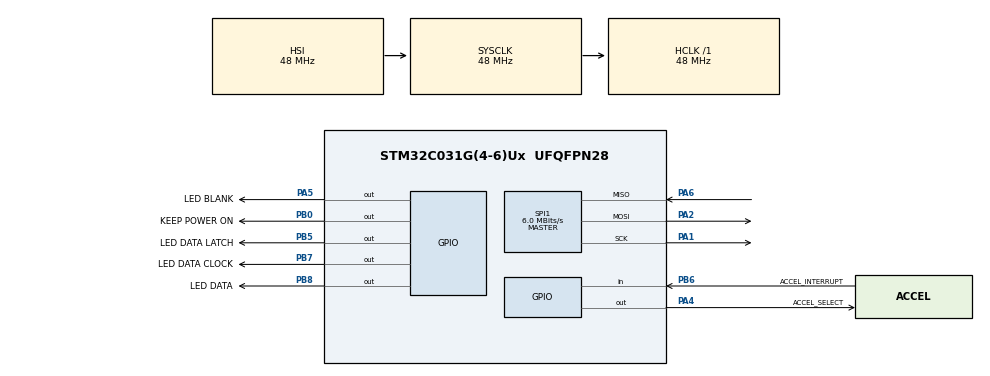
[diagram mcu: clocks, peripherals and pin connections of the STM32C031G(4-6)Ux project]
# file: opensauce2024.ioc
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Mcu.Family=STM32C0
Mcu.Name=STM32C031G(4-6)Ux
Mcu.Package=UFQFPN28
PA1.GPIO_Speed=GPIO_SPEED_FREQ_HIGH
PA1.Mode=Full_Duplex_Master
PA1.PinState=GPIO_PIN_SET
PA1.Signal=SPI1_SCK
PA13.Mode=Serial_Wire
PA13.Signal=DEBUG_SWDIO
PA14-BOOT0.Mode=Serial_Wire
PA14-BOOT0.Signal=DEBUG_SWCLK
PA2.GPIO_Speed=GPIO_SPEED_FREQ_HIGH
PA2.Mode=Full_Duplex_Master
PA2.Signal=SPI1_MOSI
PA4.GPIO_Label=ACCEL_SELECT
PA4.GPIO_Speed=GPIO_SPEED_FREQ_MEDIUM
PA4.PinState=GPIO_PIN_SET
PA4.Signal=GPIO_Output
PA5.GPIO_Label=LED BLANK
PA5.GPIO_Speed=GPIO_SPEED_FREQ_LOW
PA5.Signal=GPIO_Output
PA6.GPIO_PuPd=GPIO_NOPULL
PA6.GPIO_Speed=GPIO_SPEED_FREQ_HIGH
PA6.Mode=Full_Duplex_Master
PA6.Signal=SPI1_MISO
PB0.GPIO_Label=KEEP POWER ON
PB0.GPIO_Speed=GPIO_SPEED_FREQ_LOW
PB0.Signal=GPIO_Output
PB5.GPIO_Label=LED DATA LATCH
PB5.GPIO_Speed=GPIO_SPEED_FREQ_MEDIUM
PB5.Signal=GPIO_Output
PB6.GPIO_Label=ACCEL_INTERRUPT
PB6.Signal=GPIO_Input
PB7.GPIO_FM7=SYSCFG_FASTMODEPLUS_PB7
PB7.GPIO_Label=LED DATA CLOCK
PB7.GPIO_Speed=GPIO_SPEED_FREQ_MEDIUM
PB7.Signal=GPIO_Output
PB8.GPIO_FM8=SYSCFG_FASTMODEPLUS_PB8
PB8.GPIO_Label=LED DATA
PB8.GPIO_Speed=GPIO_SPEED_FREQ_MEDIUM
PB8.Signal=GPIO_Output
ProjectManager.HeapSize=0x200
ProjectManager.StackSize=0x400
ProjectManager.TargetToolchain=STM32CubeIDE
RCC.ADCFreq_Value=48000000
RCC.AHBFreq_Value=48000000
RCC.CortexFreq_Value=48000000
RCC.EXTERNAL_CLOCK_VALUE=12288000
RCC.HCLKFreq_Value=48000000
RCC.HSE_VALUE=8000000
RCC.HSIKERCLKDivider=RCC_HSIKER_DIV3
RCC.HSISYSCLKDivider=RCC_HSI_DIV1
RCC.HSI_VALUE=48000000
RCC.LSE_VALUE=32768
RCC.SYSCLKFreq_VALUE=48000000
SPI1.BaudRatePrescaler=SPI_BAUDRATEPRESCALER_8
SPI1.CLKPhase=SPI_PHASE_2EDGE
SPI1.CLKPolarity=SPI_POLARITY_HIGH
SPI1.CalculateBaudRate=6.0 MBits/s
SPI1.Direction=SPI_DIRECTION_2LINES
SPI1.Mode=SPI_MODE_MASTER
SPI1.TIMode=SPI_TIMODE_DISABLE
SPI1.VirtualType=VM_MASTER
TIM1.AutoReloadPreload=TIM_AUTORELOAD_PRELOAD_ENABLE
TIM1.Channel-Output\ Compare1\ No\ Output=TIM_CHANNEL_1
TIM1.OC1Preload=ENABLE
TIM1.OCMode_1=TIM_OCMODE_ACTIVE
TIM1.Period=65535
TIM1.Prescaler=47
TIM1.Pulse-Output\ Compare1\ No\ Output=65535
TIM1.RepetitionCounter=0
TIM1.TIM_MasterOutputTrigger=TIM_TRGO_OC1REF
VP_TIM1_VS_ClockSourceINT.Mode=Internal
VP_TIM1_VS_ClockSourceITR.Mode=TriggerSource_ITR0
VP_TIM1_VS_ControllerModeTrigger.Mode=Trigger Mode
VP_TIM1_VS_no_output1.Mode=Output Compare1 No Output
board=custom

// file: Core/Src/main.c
/* USER CODE BEGIN Header */
/**
  ******************************************************************************
  * @file           : main.c
  * @brief          : Main program body
  ******************************************************************************
  * @attention
  *
  * Copyright (c) 2024 STMicroelectronics.
  * All rights reserved.
  *
  * This software is licensed under terms that can be found in the LICENSE file
  * in the root directory of this software component.
  * If no LICENSE file comes with this software, it is provided AS-IS.
  *
  ******************************************************************************
  */
/* USER CODE END Header */
#include "main.h"

/* USER CODE BEGIN Includes */
#include "ledDrivers.h"
#include "imageData.h"
#include "math.h"
/* USER CODE END Includes */

/* USER CODE BEGIN PD */
#define POWER_OFF_DELAY 30	// how many seconds of no movement before powering down
#define LED_ENABLE_ACCELERATION 6000

// use measured x accel values as "random" input
// max is 0x7FFE
// min is 1
// a point is counted each time the actual measured value falls between high and low range (inclusive), once enough points are accumulated, the random event is triggered
#define RANDOM_HIGH_RANGE 0x3FFF + RANDOM_CHANCE  	// mid-scale
#define RANDOM_LOW_RANGE 0x3FFF - RANDOM_CHANCE		// the wider this range, the more likely it will match
#define RANDOM_POINTS_REQUIRED RANDOM_POINTS
#define SECRET_IMAGE_DISPLAY_CYCLES SECRET_DISPLAY_CYCLES	// number of cycles to display the secret image once the random threshold is reached

//#define ANGLE_STABILIZATION_MODE 1	// enable stabilization mode, this displays animation frames based on the tilt angle of the card instead of playing the animation. frame display cycles should be set to 1 when using this

#define PI 3.14159265359

/* USER CODE END PD */

SPI_HandleTypeDef hspi1;

TIM_HandleTypeDef htim1;

/* USER CODE BEGIN PV */

// write addresses
const uint8_t ACCEL_MODE = 0x07;
const uint8_t ACCEL_SAMPLE_RATE = 0x08;
const uint8_t ACCEL_RANGE = 0x20;
const uint8_t ACCEL_INTERRUPT_ENABLE = 0x06;
const uint8_t ACCEL_GPIO_CONTROL = 0x33;
const uint8_t ACCEL_COMMUNICATION_CONTROL = 0x31;
const uint8_t ACCEL_INTERRUPT_STATUS = 0x14;

// read addresses
const uint8_t ACCEL_STATUS = 0x05 + 128;
const uint8_t ACCEL_READ_COUNT = 0x4b + 128;
const uint8_t ACCEL_X_DATA = 0x0d + 128;
const uint8_t ACCEL_RUN_STATUS = 0x13 + 128;

/* USER CODE END PV */

void SystemClock_Config(void);
static void MX_GPIO_Init(void);
static void MX_SPI1_Init(void);
static void MX_TIM1_Init(void);

int main(void)
{

  /* USER CODE BEGIN 1 */
	FLASH_OBProgramInitTypeDef OB;

	HAL_FLASHEx_OBGetConfig(&OB);
	if((OB.USERConfig & OB_BOR_ENABLE)){
	   HAL_FLASH_Unlock();
	   HAL_FLASH_OB_Unlock();

	   OB.OptionType = OPTIONBYTE_USER;
	   OB.USERType = OB_USER_BOR_EN;
	   OB.USERConfig = OB_BOR_DISABLE;

	   if ( HAL_FLASHEx_OBProgram(&OB) != HAL_OK )
		  {
			  HAL_FLASH_OB_Lock();
			  HAL_FLASH_Lock();
			  return HAL_ERROR;
		  }

		  HAL_FLASH_OB_Launch();

		  /* We should not make it past the Launch, so lock
		   * flash memory and return an error from function
		   */
		  HAL_FLASH_OB_Lock();
		  HAL_FLASH_Lock();
		  return HAL_ERROR;
	}

  /* USER CODE END 1 */

  /* MCU Configuration--------------------------------------------------------*/

  /* Reset of all peripherals, Initializes the Flash interface and the Systick. */
  HAL_Init();

  /* Configure the system clock */
  SystemClock_Config();

  /* Initialize all configured peripherals */
  MX_GPIO_Init();
  MX_SPI1_Init();
  MX_TIM1_Init();
  /* USER CODE BEGIN 2 */

  TIM1->CR1 |= 1;

  // lock on power
  HAL_GPIO_WritePin(KEEP_POWER_ON_GPIO_Port, KEEP_POWER_ON_Pin, GPIO_PIN_SET);
  //HAL_Delay(100);
  disableLEDs();
  setLEDs(0x80000001);
  enableLEDs();
  HAL_Delay(100);
  setLEDs(0);

  uint32_t tick_count = 0;
  uint32_t last_active_tick_count = 0;

  const uint32_t imageData[IMAGE_LENGTH] = IMAGE_DATA;
  const uint8_t normal_frame_cycles[IMAGE_LENGTH/FRAME_LENGTH] = FRAME_DISPLAY_CYCLES;

  #ifdef SECRET_IMAGE_DATA
  	  const uint32_t secretImageData[SECRET_IMAGE_LENGTH] = SECRET_IMAGE_DATA;
  	  const uint8_t secret_frame_cycles[SECRET_IMAGE_LENGTH/SECRET_FRAME_LENGTH] = SECRET_FRAME_DISPLAY_CYCLES;
  #endif

  char spi_buf[10];
  char spi_read_buf[10];

  #ifdef ANGLE_STABILIZATION_MODE
  	  int16_t y_accel_raw = 0;
  	  int32_t angle_step = 0;
  	  int32_t x_accel_zero_average = 0;
  	  int32_t y_accel_zero_average = 0;
  #endif

  int16_t x_accel_raw = 0;

  int32_t low_cut_integrator_rate = 10; // max accel magnitude to reduce toward zero each cycle. this is used to remove affects of gravity
  int32_t x_low_cut_integrator = 0;

  int32_t x_accel = 0;
  int32_t x_accel_interpolated = 0;
  int32_t x_accel_previous = 0;
  uint32_t accel_last_update_time = 0;	// us
  uint32_t accel_update_period = 1000; 	// us (1000Hz)
  int32_t max_dynamic_accel = 0x7FFF; // acceleration needed to reach ends of image, this should adjust based on the measured max acceleration

  int32_t x_accel_magnitude_average = 0;

  int32_t image_line = 0;

  int32_t max_cycle_accel = 0;
  int32_t min_cycle_accel = 0;
  uint32_t max_cycle_accel_time = 0;
  uint32_t min_cycle_accel_time = 0;

  uint32_t estimated_next_edge_time = 0;	// when we think we will be at the end of the shake motion again
  uint32_t frame_trigger_time = 0xFFFFFFFF;

  uint32_t random_points = 0;
  int32_t image_length = IMAGE_LENGTH;
  int32_t frame_length = FRAME_LENGTH;

  uint32_t current_frame_cycle = 0;
  uint32_t frame_display_cycles = normal_frame_cycles[0];

  uint32_t current_frame = 0;

  uint32_t secret_display_cycles = 0;

  uint32_t accel_read_attemps = 0;

  // send nothing to get SPI clk level set correctly
  HAL_SPI_Transmit(&hspi1, (uint8_t *)spi_buf, 1, 1);

  // configure accelerometer

  ACCEL_SELECT_GPIO_Port->ODR &= ~(1 << 4);
  spi_buf[0] = ACCEL_MODE;
  spi_buf[1] = 0b00000000;	// set to standby mode
  HAL_SPI_Transmit(&hspi1, (uint8_t *)spi_buf, 2, 1);
  ACCEL_SELECT_GPIO_Port->ODR |= (1 << 4);

  HAL_Delay(1);

  ACCEL_SELECT_GPIO_Port->ODR &= ~(1 << 4);
  spi_buf[0] = ACCEL_SAMPLE_RATE;
  spi_buf[1] = 0x0E;	// set sample rate (1000 Hz)
  HAL_SPI_Transmit(&hspi1, (uint8_t *)spi_buf, 2, 1);
  ACCEL_SELECT_GPIO_Port->ODR |= (1 << 4);

  ACCEL_SELECT_GPIO_Port->ODR &= ~(1 << 4);
  spi_buf[0] = ACCEL_INTERRUPT_ENABLE;
  spi_buf[1] = 0x80;	// enable sample (ACQ) interrupt
  HAL_SPI_Transmit(&hspi1, (uint8_t *)spi_buf, 2, 1);
  ACCEL_SELECT_GPIO_Port->ODR |= (1 << 4);

  ACCEL_SELECT_GPIO_Port->ODR &= ~(1 << 4);
  spi_buf[0] = ACCEL_GPIO_CONTROL;
  spi_buf[1] = 0xC0;	// set INTN2 pin as push/pull active high
  HAL_SPI_Transmit(&hspi1, (uint8_t *)spi_buf, 2, 1);
  ACCEL_SELECT_GPIO_Port->ODR |= (1 << 4);

  ACCEL_SELECT_GPIO_Port->ODR &= ~(1 << 4);
  spi_buf[0] = ACCEL_COMMUNICATION_CONTROL;
  spi_buf[1] = 0x10;	// swap INTN output pins
  HAL_SPI_Transmit(&hspi1, (uint8_t *)spi_buf, 2, 1);
  ACCEL_SELECT_GPIO_Port->ODR |= (1 << 4);

  ACCEL_SELECT_GPIO_Port->ODR &= ~(1 << 4);
  spi_buf[0] = ACCEL_RANGE;
  spi_buf[1] = 0b00100000;	// set +- 8G's
  HAL_SPI_Transmit(&hspi1, (uint8_t *)spi_buf, 2, 1);
  ACCEL_SELECT_GPIO_Port->ODR |= (1 << 4);

  ACCEL_SELECT_GPIO_Port->ODR &= ~(1 << 4);
  spi_buf[0] = ACCEL_MODE;
  spi_buf[1] = 0b00000001;	// set to wake mode
  HAL_SPI_Transmit(&hspi1, (uint8_t *)spi_buf, 2, 1);
  ACCEL_SELECT_GPIO_Port->ODR |= (1 << 4);

  tick_count = (tick_count & 0xFFFF0000) + TIM1->CNT;
  	if(TIM1->SR & 0b1){
  		tick_count += 0x10000;
  		TIM1->SR &= ~(1);
  	}

  accel_last_update_time = tick_count;

  /* USER CODE END 2 */

  /* Infinite loop */
  /* USER CODE BEGIN WHILE */
  while (1)
  {
	tick_count = (tick_count & 0xFFFF0000) + TIM1->CNT;
	if(TIM1->SR & 0b1){
		tick_count += 0x10000;
		TIM1->SR &= ~(1);
	}

	accel_read_attemps = 5;
	while(ACCEL_INTERRUPT_GPIO_Port->IDR & (1 << 6) && accel_read_attemps > 0){

		tick_count = (tick_count & 0xFFFF0000) + TIM1->CNT;
		if(TIM1->SR & 0b1){
			tick_count += 0x10000;
			TIM1->SR &= ~(1);
		}

		accel_read_attemps--;
		// read XYZ accel values
		ACCEL_SELECT_GPIO_Port->ODR &= ~(1 << 4);
		spi_buf[0] = (uint8_t)ACCEL_X_DATA;
		spi_buf[1] = 0;
		spi_buf[2] = 0;
		spi_buf[4] = 0;
		HAL_SPI_TransmitReceive(&hspi1, (uint8_t *)spi_buf, (uint8_t *)spi_read_buf, 8, 1);
		ACCEL_SELECT_GPIO_Port->ODR |= (1 << 4);

		// clear interrupt
		ACCEL_SELECT_GPIO_Port->ODR &= ~(1 << 4);
		spi_buf[0] = ACCEL_INTERRUPT_STATUS;
		spi_buf[1] = 0;
		HAL_SPI_Transmit(&hspi1, (uint8_t *)spi_buf, 2, 1);
		ACCEL_SELECT_GPIO_Port->ODR |= (1 << 4);

		accel_update_period = tick_count - accel_last_update_time;
		accel_last_update_time = tick_count;

		x_accel_raw = spi_read_buf[2] | spi_read_buf[3] << 8;
        #ifdef ANGLE_STABILIZATION_MODE
			y_accel_raw = spi_read_buf[4] | spi_read_buf[5] << 8;
		#endif
		//z_accel_raw = spi_read_buf[6] | spi_read_buf[7] << 8;

		if(x_accel_magnitude_average > LED_ENABLE_ACCELERATION){
			if(x_accel_previous < 0 && x_accel >= 0){	// transitioned from negative to positive acceleration
				max_cycle_accel = 0;	// clear previous max recorded accel
				estimated_next_edge_time = (min_cycle_accel_time-max_cycle_accel_time) + min_cycle_accel_time;

				#ifdef ANGLE_STABILIZATION_MODE
					// save angle when there should be negligible affect from shaking
					x_accel_zero_average -= (x_accel_zero_average - x_accel_raw) / 5;
					y_accel_zero_average -= (y_accel_zero_average - y_accel_raw) / 5;
					angle_step = atan2(x_accel_zero_average, y_accel_zero_average) * ((IMAGE_LENGTH/FRAME_LENGTH) / (2*PI)) + ((IMAGE_LENGTH/FRAME_LENGTH) / 2);
				#endif
			}

			if(x_accel_previous > 0 && x_accel <= 0){	// transitioned from positive to negative acceleration
				min_cycle_accel = 0;	// clear previous min recorded accel
				estimated_next_edge_time = (max_cycle_accel_time-min_cycle_accel_time) + max_cycle_accel_time;

				#ifdef ANGLE_STABILIZATION_MODE
					// save angle when there should be negligible affect from shaking
					x_accel_zero_average -= (x_accel_zero_average - x_accel_raw) / 5;
					y_accel_zero_average -= (y_accel_zero_average - y_accel_raw) / 5;
					angle_step = atan2(x_accel_zero_average, y_accel_zero_average) * ((IMAGE_LENGTH/FRAME_LENGTH) / (2*PI)) + ((IMAGE_LENGTH/FRAME_LENGTH) / 2);
				#endif
			}
		}

		if(estimated_next_edge_time > tick_count + 500000) estimated_next_edge_time = tick_count;

		x_accel_previous = x_accel;

		// integrate towards zero to cancel constant acceleration (gravity)
		x_accel = x_accel_raw + x_low_cut_integrator;

		// random event generation
		if((x_accel >= RANDOM_LOW_RANGE && x_accel <= RANDOM_HIGH_RANGE) && secret_display_cycles==0) random_points++;

		// run integrator
		if(x_accel > low_cut_integrator_rate){
			x_low_cut_integrator -= low_cut_integrator_rate;
		}
		else if(x_accel < -low_cut_integrator_rate){
			x_low_cut_integrator += low_cut_integrator_rate;
		}
		else{
			x_low_cut_integrator -= x_accel;
		}

		// estimate average magnitude (used to detect motion)
		x_accel_magnitude_average += (abs(x_accel) - x_accel_magnitude_average) / 200;

		if(x_accel>max_cycle_accel){
			max_cycle_accel = x_accel;
			max_cycle_accel_time = tick_count;
		}

		if(x_accel<min_cycle_accel){
			min_cycle_accel = x_accel;
			min_cycle_accel_time = tick_count;
		}

	}

	// interpolate acceleration steps to get a smooth change
	x_accel_interpolated = x_accel_previous * (int32_t)accel_update_period + (x_accel / (int32_t)(tick_count-accel_last_update_time));
	x_accel_interpolated /= (int32_t)accel_update_period;

	// increment display frame cycle counter
	if(tick_count >= frame_trigger_time && current_frame_cycle == 0){	// reset counter and increment to next frame index

		current_frame++;
		frame_display_cycles = normal_frame_cycles[current_frame];
		current_frame_cycle = frame_display_cycles;

		if(current_frame * frame_length > image_length-frame_length){
			current_frame = 0;		// loop back to first frame once end of image is reached
			frame_display_cycles = normal_frame_cycles[current_frame];
			current_frame_cycle = frame_display_cycles;

			if(secret_display_cycles != 0){
				secret_display_cycles--;	// decrement secret display cycles since we went through all of the frames

				if(secret_display_cycles == 0){		// switch back to normal image when secret cycles are up
					image_length = IMAGE_LENGTH;
					frame_length = FRAME_LENGTH;
					current_frame = 0;	// pick up where we left off
					frame_display_cycles = normal_frame_cycles[current_frame];
					current_frame_cycle = frame_display_cycles;
				}
			}
		}

		#ifdef SECRET_IMAGE_DATA
			if(random_points >= RANDOM_POINTS_REQUIRED && current_frame == 0){	// switch to secret image, random points are not generated while secret_display_cycles != 0
				random_points = 0;
				image_length = SECRET_IMAGE_LENGTH;
				frame_length = SECRET_FRAME_LENGTH;
				secret_display_cycles = SECRET_IMAGE_DISPLAY_CYCLES;
				current_frame = 0;	// reset frame counter so we start at first frame of animation
				frame_display_cycles = secret_frame_cycles[current_frame];
				current_frame_cycle = frame_display_cycles;
			}
		#endif

		#ifdef ANGLE_STABILIZATION_MODE
			// select frame based on tilt angle
			if(secret_display_cycles != 0){
				secret_display_cycles--;	// decrement secret display cycles

				if(secret_display_cycles == 0){		// switch back to normal image when secret cycles are up
					image_length = IMAGE_LENGTH;
					frame_length = FRAME_LENGTH;
					frame_display_cycles = FRAME_DISPLAY_CYCLES;
				}
			}

			current_frame = angle_step + (IMAGE_LENGTH/FRAME_LENGTH) - 1;
			current_frame %= (IMAGE_LENGTH/FRAME_LENGTH);
		#endif

	}

    if(tick_count >= frame_trigger_time && current_frame_cycle != 0 && frame_trigger_time < estimated_next_edge_time){	// decrement counter
    	frame_trigger_time = estimated_next_edge_time;
    	current_frame_cycle--;
    }

    if(current_frame_cycle==0) frame_trigger_time = estimated_next_edge_time;

  	// find line of image to display based on current acceleration and image length
	image_line =  ((x_accel_interpolated + max_dynamic_accel/2) / (max_dynamic_accel / frame_length)) + current_frame * frame_length;

	// display image if image_line is valid and motion is detected
	if(image_line >= current_frame * frame_length && image_line < (current_frame+1) * frame_length && x_accel_magnitude_average > LED_ENABLE_ACCELERATION){
		#ifdef SECRET_IMAGE_DATA
			if(secret_display_cycles > 0){
				setLEDs(secretImageData[image_line]);
		  	}
		  	else{
		  		setLEDs(imageData[image_line]);
		  	}
		#else
			setLEDs(imageData[image_line]);
		#endif

		last_active_tick_count = tick_count;
	}
	else{
		setLEDs(0);
	}

	if(x_accel_magnitude_average < LED_ENABLE_ACCELERATION){
		// reset animation variables when card is no longer being shaken
		image_length = IMAGE_LENGTH;
		frame_length = FRAME_LENGTH;
		frame_display_cycles = normal_frame_cycles[0];
		current_frame = 0;	// reset frame counter so we start at first frame of animation
	}

	if(tick_count - last_active_tick_count >= 1000000 * POWER_OFF_DELAY){
		// shut down
		setLEDs(0xFFFFFFFF);
		HAL_GPIO_WritePin(KEEP_POWER_ON_GPIO_Port, KEEP_POWER_ON_Pin, GPIO_PIN_RESET);
		NVIC_SystemReset();

	}

    /* USER CODE END WHILE */

  }
}

void SystemClock_Config(void)
{
  RCC_OscInitTypeDef RCC_OscInitStruct = {0};
  RCC_ClkInitTypeDef RCC_ClkInitStruct = {0};

  /** Initializes the RCC Oscillators according to the specified parameters
  * in the RCC_OscInitTypeDef structure.
  */
  RCC_OscInitStruct.OscillatorType = RCC_OSCILLATORTYPE_HSI;
  RCC_OscInitStruct.HSIState = RCC_HSI_ON;
  RCC_OscInitStruct.HSIDiv = RCC_HSI_DIV1;
  RCC_OscInitStruct.HSICalibrationValue = RCC_HSICALIBRATION_DEFAULT;
  if (HAL_RCC_OscConfig(&RCC_OscInitStruct) != HAL_OK)
  {
    Error_Handler();
  }

  /** Initializes the CPU, AHB and APB buses clocks
  */
  RCC_ClkInitStruct.ClockType = RCC_CLOCKTYPE_HCLK|RCC_CLOCKTYPE_SYSCLK
                              |RCC_CLOCKTYPE_PCLK1;
  RCC_ClkInitStruct.SYSCLKSource = RCC_SYSCLKSOURCE_HSI;
  RCC_ClkInitStruct.SYSCLKDivider = RCC_SYSCLK_DIV1;
  RCC_ClkInitStruct.AHBCLKDivider = RCC_HCLK_DIV1;
  RCC_ClkInitStruct.APB1CLKDivider = RCC_APB1_DIV1;

  if (HAL_RCC_ClockConfig(&RCC_ClkInitStruct, FLASH_LATENCY_1) != HAL_OK)
  {
    Error_Handler();
  }
}

static void MX_SPI1_Init(void)
{

  /* SPI1 parameter configuration*/
  hspi1.Instance = SPI1;
  hspi1.Init.Mode = SPI_MODE_MASTER;
  hspi1.Init.Direction = SPI_DIRECTION_2LINES;
  hspi1.Init.DataSize = SPI_DATASIZE_8BIT;
  hspi1.Init.CLKPolarity = SPI_POLARITY_HIGH;
  hspi1.Init.CLKPhase = SPI_PHASE_2EDGE;
  hspi1.Init.NSS = SPI_NSS_SOFT;
  hspi1.Init.BaudRatePrescaler = SPI_BAUDRATEPRESCALER_8;
  hspi1.Init.FirstBit = SPI_FIRSTBIT_MSB;
  hspi1.Init.TIMode = SPI_TIMODE_DISABLE;
  hspi1.Init.CRCCalculation = SPI_CRCCALCULATION_DISABLE;
  hspi1.Init.CRCPolynomial = 7;
  hspi1.Init.CRCLength = SPI_CRC_LENGTH_DATASIZE;
  hspi1.Init.NSSPMode = SPI_NSS_PULSE_DISABLE;
  if (HAL_SPI_Init(&hspi1) != HAL_OK)
  {
    Error_Handler();
  }

}

static void MX_TIM1_Init(void)
{

  TIM_ClockConfigTypeDef sClockSourceConfig = {0};
  TIM_SlaveConfigTypeDef sSlaveConfig = {0};
  TIM_MasterConfigTypeDef sMasterConfig = {0};
  TIM_OC_InitTypeDef sConfigOC = {0};
  TIM_BreakDeadTimeConfigTypeDef sBreakDeadTimeConfig = {0};

  htim1.Instance = TIM1;
  htim1.Init.Prescaler = 47;
  htim1.Init.CounterMode = TIM_COUNTERMODE_UP;
  htim1.Init.Period = 65535;
  htim1.Init.ClockDivision = TIM_CLOCKDIVISION_DIV1;
  htim1.Init.RepetitionCounter = 0;
  htim1.Init.AutoReloadPreload = TIM_AUTORELOAD_PRELOAD_ENABLE;
  if (HAL_TIM_Base_Init(&htim1) != HAL_OK)
  {
    Error_Handler();
  }
  sClockSourceConfig.ClockSource = TIM_CLOCKSOURCE_INTERNAL;
  if (HAL_TIM_ConfigClockSource(&htim1, &sClockSourceConfig) != HAL_OK)
  {
    Error_Handler();
  }
  if (HAL_TIM_OC_Init(&htim1) != HAL_OK)
  {
    Error_Handler();
  }
  sSlaveConfig.SlaveMode = TIM_SLAVEMODE_TRIGGER;
  sSlaveConfig.InputTrigger = TIM_TS_ITR0;
  if (HAL_TIM_SlaveConfigSynchro(&htim1, &sSlaveConfig) != HAL_OK)
  {
    Error_Handler();
  }
  sMasterConfig.MasterOutputTrigger = TIM_TRGO_OC1REF;
  sMasterConfig.MasterOutputTrigger2 = TIM_TRGO2_RESET;
  sMasterConfig.MasterSlaveMode = TIM_MASTERSLAVEMODE_DISABLE;
  if (HAL_TIMEx_MasterConfigSynchronization(&htim1, &sMasterConfig) != HAL_OK)
  {
    Error_Handler();
  }
  sConfigOC.OCMode = TIM_OCMODE_ACTIVE;
  sConfigOC.Pulse = 65535;
  sConfigOC.OCPolarity = TIM_OCPOLARITY_HIGH;
  sConfigOC.OCNPolarity = TIM_OCNPOLARITY_HIGH;
  sConfigOC.OCFastMode = TIM_OCFAST_DISABLE;
  sConfigOC.OCIdleState = TIM_OCIDLESTATE_RESET;
  sConfigOC.OCNIdleState = TIM_OCNIDLESTATE_RESET;
  if (HAL_TIM_OC_ConfigChannel(&htim1, &sConfigOC, TIM_CHANNEL_1) != HAL_OK)
  {
    Error_Handler();
  }
  __HAL_TIM_ENABLE_OCxPRELOAD(&htim1, TIM_CHANNEL_1);
  sBreakDeadTimeConfig.OffStateRunMode = TIM_OSSR_DISABLE;
  sBreakDeadTimeConfig.OffStateIDLEMode = TIM_OSSI_DISABLE;
  sBreakDeadTimeConfig.LockLevel = TIM_LOCKLEVEL_OFF;
  sBreakDeadTimeConfig.DeadTime = 0;
  sBreakDeadTimeConfig.BreakState = TIM_BREAK_DISABLE;
  sBreakDeadTimeConfig.BreakPolarity = TIM_BREAKPOLARITY_HIGH;
  sBreakDeadTimeConfig.BreakFilter = 0;
  sBreakDeadTimeConfig.BreakAFMode = TIM_BREAK_AFMODE_INPUT;
  sBreakDeadTimeConfig.Break2State = TIM_BREAK2_DISABLE;
  sBreakDeadTimeConfig.Break2Polarity = TIM_BREAK2POLARITY_HIGH;
  sBreakDeadTimeConfig.Break2Filter = 0;
  sBreakDeadTimeConfig.Break2AFMode = TIM_BREAK_AFMODE_INPUT;
  sBreakDeadTimeConfig.AutomaticOutput = TIM_AUTOMATICOUTPUT_DISABLE;
  if (HAL_TIMEx_ConfigBreakDeadTime(&htim1, &sBreakDeadTimeConfig) != HAL_OK)
  {
    Error_Handler();
  }

}

static void MX_GPIO_Init(void)
{
  GPIO_InitTypeDef GPIO_InitStruct = {0};

  /* GPIO Ports Clock Enable */
  __HAL_RCC_GPIOA_CLK_ENABLE();
  __HAL_RCC_GPIOB_CLK_ENABLE();

  /*Configure GPIO pin Output Level */
  HAL_GPIO_WritePin(ACCEL_SELECT_GPIO_Port, ACCEL_SELECT_Pin, GPIO_PIN_SET);

  /*Configure GPIO pin Output Level */
  HAL_GPIO_WritePin(LED_BLANK_GPIO_Port, LED_BLANK_Pin, GPIO_PIN_RESET);

  /*Configure GPIO pin Output Level */
  HAL_GPIO_WritePin(GPIOB, KEEP_POWER_ON_Pin|LED_DATA_LATCH_Pin|LED_DATA_CLOCK_Pin|LED_DATA_Pin, GPIO_PIN_RESET);

  /*Configure GPIO pin : ACCEL_SELECT_Pin */
  GPIO_InitStruct.Pin = ACCEL_SELECT_Pin;
  GPIO_InitStruct.Mode = GPIO_MODE_OUTPUT_PP;
  GPIO_InitStruct.Pull = GPIO_NOPULL;
  GPIO_InitStruct.Speed = GPIO_SPEED_FREQ_MEDIUM;
  HAL_GPIO_Init(ACCEL_SELECT_GPIO_Port, &GPIO_InitStruct);

  /*Configure GPIO pin : LED_BLANK_Pin */
  GPIO_InitStruct.Pin = LED_BLANK_Pin;
  GPIO_InitStruct.Mode = GPIO_MODE_OUTPUT_PP;
  GPIO_InitStruct.Pull = GPIO_NOPULL;
  GPIO_InitStruct.Speed = GPIO_SPEED_FREQ_LOW;
  HAL_GPIO_Init(LED_BLANK_GPIO_Port, &GPIO_InitStruct);

  /*Configure GPIO pin : KEEP_POWER_ON_Pin */
  GPIO_InitStruct.Pin = KEEP_POWER_ON_Pin;
  GPIO_InitStruct.Mode = GPIO_MODE_OUTPUT_PP;
  GPIO_InitStruct.Pull = GPIO_NOPULL;
  GPIO_InitStruct.Speed = GPIO_SPEED_FREQ_LOW;
  HAL_GPIO_Init(KEEP_POWER_ON_GPIO_Port, &GPIO_InitStruct);

  /*Configure GPIO pins : LED_DATA_LATCH_Pin LED_DATA_CLOCK_Pin LED_DATA_Pin */
  GPIO_InitStruct.Pin = LED_DATA_LATCH_Pin|LED_DATA_CLOCK_Pin|LED_DATA_Pin;
  GPIO_InitStruct.Mode = GPIO_MODE_OUTPUT_PP;
  GPIO_InitStruct.Pull = GPIO_NOPULL;
  GPIO_InitStruct.Speed = GPIO_SPEED_FREQ_MEDIUM;
  HAL_GPIO_Init(GPIOB, &GPIO_InitStruct);

  /*Configure GPIO pin : ACCEL_INTERRUPT_Pin */
  GPIO_InitStruct.Pin = ACCEL_INTERRUPT_Pin;
  GPIO_InitStruct.Mode = GPIO_MODE_INPUT;
  GPIO_InitStruct.Pull = GPIO_NOPULL;
  HAL_GPIO_Init(ACCEL_INTERRUPT_GPIO_Port, &GPIO_InitStruct);

  /**/
  __HAL_SYSCFG_FASTMODEPLUS_ENABLE(SYSCFG_FASTMODEPLUS_PB7);

  /**/
  __HAL_SYSCFG_FASTMODEPLUS_ENABLE(SYSCFG_FASTMODEPLUS_PB8);

}

void Error_Handler(void)
{
  __disable_irq();
  while (1)
  {
  }
}
